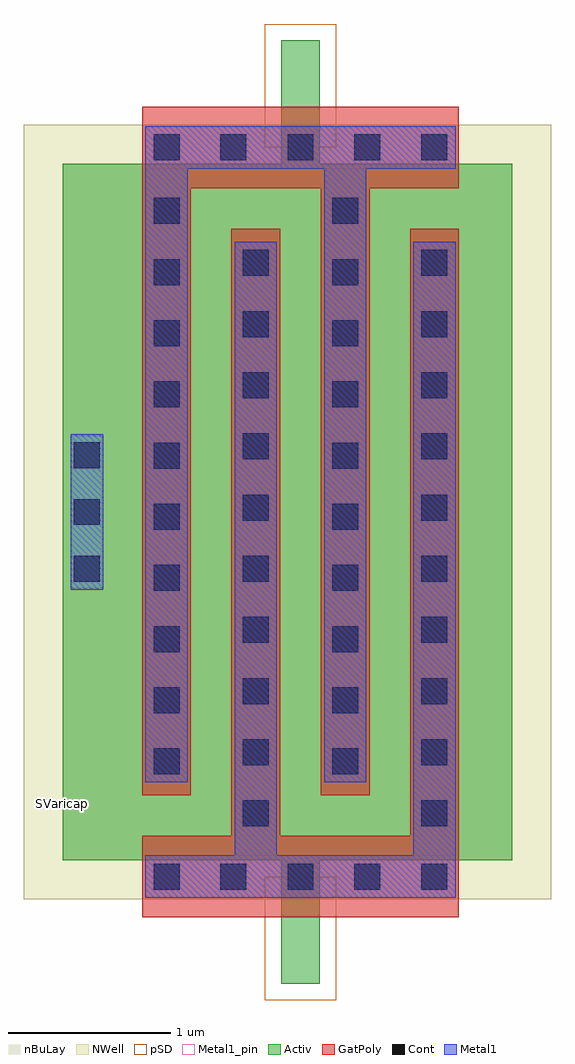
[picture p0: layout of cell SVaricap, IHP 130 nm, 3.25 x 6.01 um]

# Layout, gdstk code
import gdstk
lib = gdstk.Library(unit=1e-6, precision=1e-09)
def R(c, l, rs):  # rectangles x0, y0, x1, y1
    for r in rs: c.add(gdstk.rectangle(r[:2], r[2:], *l))
def A(c, l, x, y, w, h, nx, ny, dx, dy):  # array of equal rectangles
    R(c, l, [(x+i*dx, y+j*dy, x+i*dx+w, y+j*dy+h) for i in range(nx) for j in range(ny)])
Activ = (1, 0)
GatPoly = (5, 0)
Cont = (6, 0)
Metal1 = (8, 0)
Metal1_pin = (8, 2)
pSD = (14, 0)
NWell = (31, 0)
nBuLay = (32, 0)

svaricap = lib.new_cell('SVaricap')
R(svaricap, Activ, [(1.585,-0.52,1.825,0.24), (0.24,0.24,3.01,4.53), (1.585,4.53,1.825,5.29)])
R(svaricap, GatPoly, [(0.73,-0.11,2.68,0.39), (1.28,0.39,1.58,4.13), (2.38,0.39,2.68,4.13), (0.73,0.64,1.03,4.38), (1.83,0.64,2.13,4.38), (0.73,4.38,2.68,4.88)])
A(svaricap, Cont, 1.35, 0.45, 0.16, 0.16, 1, 3, 0, 0.375)
A(svaricap, Cont, 2.45, 0.45, 0.16, 0.16, 1, 3, 0, 0.375)
A(svaricap, Cont, 0.8, 0.77, 0.16, 0.16, 1, 3, 0, 0.375)
A(svaricap, Cont, 1.9, 0.77, 0.16, 0.16, 1, 3, 0, 0.375)
A(svaricap, Cont, 1.35, 1.58, 0.16, 0.16, 1, 3, 0, 0.375)
A(svaricap, Cont, 2.45, 1.58, 0.16, 0.16, 1, 3, 0, 0.375)
A(svaricap, Cont, 0.8, 1.9, 0.16, 0.16, 1, 3, 0, 0.375)
A(svaricap, Cont, 1.9, 1.9, 0.16, 0.16, 1, 3, 0, 0.375)
A(svaricap, Cont, 0.31, 1.955, 0.16, 0.16, 1, 3, 0, 0.35)
A(svaricap, Cont, 1.35, 2.71, 0.16, 0.16, 1, 3, 0, 0.375)
A(svaricap, Cont, 2.45, 2.71, 0.16, 0.16, 1, 3, 0, 0.375)
A(svaricap, Cont, 0.8, 3.03, 0.16, 0.16, 1, 3, 0, 0.375)
A(svaricap, Cont, 1.9, 3.03, 0.16, 0.16, 1, 3, 0, 0.375)
R(svaricap, Cont, [(0.8,0.06,0.96,0.22), (1.21,0.06,1.37,0.22), (1.625,0.06,1.785,0.22), (2.035,0.06,2.195,0.22), (2.45,0.06,2.61,0.22), (1.35,3.84,1.51,4), (2.45,3.84,2.61,4), (0.8,4.16,0.96,4.32), (1.9,4.16,2.06,4.32), (0.8,4.55,0.96,4.71), (1.21,4.55,1.37,4.71), (1.625,4.55,1.785,4.71), (2.035,4.55,2.195,4.71), (2.45,4.55,2.61,4.71)])
R(svaricap, Metal1, [(0.75,0.01,2.66,0.27), (1.3,0.27,1.56,0.4), (2.4,0.27,2.66,0.4), (1.3,0.4,1.56,4.05), (2.4,0.4,2.66,4.05), (0.75,0.72,1.01,4.37), (1.85,0.72,2.11,4.37), (0.29,1.905,0.49,2.865), (0.75,4.37,1.01,4.5), (1.85,4.37,2.11,4.5), (0.75,4.5,2.66,4.76)])
R(svaricap, Metal1_pin, [(0.75,0.01,2.66,0.27), (0.29,1.915,0.49,2.855), (0.75,4.5,2.66,4.76)])
R(svaricap, pSD, [(1.485,-0.62,1.925,0.14), (1.485,4.63,1.925,5.39)])
R(svaricap, NWell, [(0,0,3.25,4.77)])
R(svaricap, nBuLay, [(0.24,0.24,3.01,4.53)])
svaricap.add(gdstk.Label('SVaricap', (0.24,0.59), layer=63, texttype=0))

lib.write_gds('SVaricap.gds')
